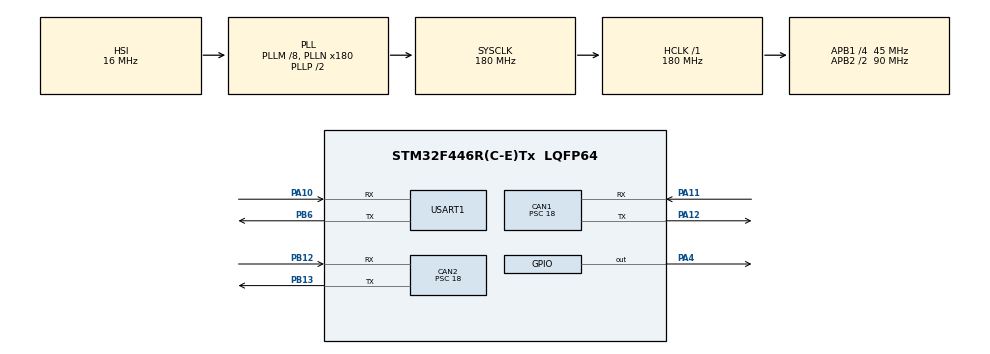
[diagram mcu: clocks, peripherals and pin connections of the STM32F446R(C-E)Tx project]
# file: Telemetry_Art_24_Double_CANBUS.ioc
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CAN1.BS1=CAN_BS1_2TQ
CAN1.BS2=CAN_BS2_2TQ
CAN1.CalculateBaudRate=500000
CAN1.CalculateTimeBit=2000
CAN1.CalculateTimeQuantum=400.0
CAN1.Prescaler=18
CAN2.BS1=CAN_BS1_2TQ
CAN2.BS2=CAN_BS2_2TQ
CAN2.CalculateBaudRate=500000
CAN2.CalculateTimeBit=2000
CAN2.CalculateTimeQuantum=400.0
CAN2.Prescaler=18
Mcu.Family=STM32F4
Mcu.Name=STM32F446R(C-E)Tx
Mcu.Package=LQFP64
NVIC.CAN1_RX0_IRQn=true\:0\:0\:false\:false\:true\:true\:true\:true
NVIC.CAN2_RX0_IRQn=true\:0\:0\:false\:false\:true\:true\:true\:true
NVIC.PriorityGroup=NVIC_PRIORITYGROUP_4
NVIC.USART1_IRQn=true\:0\:0\:false\:false\:true\:true\:true\:true
PA10.Mode=Asynchronous
PA10.Signal=USART1_RX
PA11.Mode=CAN_Activate
PA11.Signal=CAN1_RX
PA12.Mode=CAN_Activate
PA12.Signal=CAN1_TX
PA13.Mode=Serial_Wire
PA13.Signal=SYS_JTMS-SWDIO
PA14.Mode=Serial_Wire
PA14.Signal=SYS_JTCK-SWCLK
PA4.Signal=GPIO_Output
PB12.Mode=CAN_Activate
PB12.Signal=CAN2_RX
PB13.Mode=CAN_Activate
PB13.Signal=CAN2_TX
PB6.Mode=Asynchronous
PB6.Signal=USART1_TX
PC14-OSC32_IN.Mode=LSE-External-Oscillator
PC14-OSC32_IN.Signal=RCC_OSC32_IN
PC15-OSC32_OUT.Mode=LSE-External-Oscillator
PC15-OSC32_OUT.Signal=RCC_OSC32_OUT
PH0-OSC_IN.Mode=HSE-External-Oscillator
PH0-OSC_IN.Signal=RCC_OSC_IN
PH1-OSC_OUT.Mode=HSE-External-Oscillator
PH1-OSC_OUT.Signal=RCC_OSC_OUT
ProjectManager.HeapSize=0x200
ProjectManager.StackSize=0x400
ProjectManager.TargetToolchain=STM32CubeIDE
RCC.AHBFreq_Value=180000000
RCC.APB1CLKDivider=RCC_HCLK_DIV4
RCC.APB1Freq_Value=45000000
RCC.APB1TimFreq_Value=90000000
RCC.APB2CLKDivider=RCC_HCLK_DIV2
RCC.APB2Freq_Value=90000000
RCC.APB2TimFreq_Value=180000000
RCC.CortexFreq_Value=180000000
RCC.HCLKFreq_Value=180000000
RCC.HSE_VALUE=16000000
RCC.PLLM=8
RCC.PLLN=180
RCC.SYSCLKFreq_VALUE=180000000
RCC.SYSCLKSource=RCC_SYSCLKSOURCE_PLLCLK
RCC.USBFreq_Value=180000000
RCC.VCOOutputFreq_Value=360000000
USART1.VirtualMode=VM_ASYNC
board=custom

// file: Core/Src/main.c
/* USER CODE BEGIN Header */
/**
  ******************************************************************************
  * @file           : main.c
  * @brief          : Main program body
  ******************************************************************************
  * @attention
  *
  * Copyright (c) 2024 STMicroelectronics.
  * All rights reserved.
  *
  * This software is licensed under terms that can be found in the LICENSE file
  * in the root directory of this software component.
  * If no LICENSE file comes with this software, it is provided AS-IS.
  *
  ******************************************************************************
  */
/* USER CODE END Header */
#include "main.h"

/* USER CODE BEGIN Includes */
#include "string.h"
#include "stdio.h"
#include <stdlib.h>

/* USER CODE END Includes */

CAN_HandleTypeDef hcan1;
CAN_HandleTypeDef hcan2;

UART_HandleTypeDef huart1;

void SystemClock_Config(void);
static void MX_GPIO_Init(void);
static void MX_CAN1_Init(void);
static void MX_CAN2_Init(void);
static void MX_USART1_UART_Init(void);

/* USER CODE BEGIN 0 */
CAN_TxHeaderTypeDef TxHeader;
CAN_RxHeaderTypeDef RxHeader;

uint8_t TxData[8];
uint8_t RxData[8];

uint32_t TxMailbox;

#define ET_THRESHOLD 125;
#define CHASSIS_TEMP_THRESHOLD 75;
#define OP_THRESHOLD 200;

uint8_t TPS, TPS1, RPM, RPM1, MAP, MAP1, IAT, IAT1, FP, FP1, IGT, IGT1, IGT2, OP, OP1, ET, OT, Lambda, Gear, LapTime, LapTime1, FU, FU1,FrontBrakePress, FrontBrakePress1, RearBrakePress, RearBrakePress1;
int RearBrakePress2, FrontBrakePress2, TPS2, OP2, RPM2, BatV, MAP2, IAT2, FP2, Speed, LapTime2, FU2,InnerFLIR,InnerFRIR,InnerRRIR,InnerRLIR,CenterFRIR,CenterRRIR,CenterFLIR,CenterRLIR,OuterFRIR,OuterRRIR,OuterFLIR,OuterRLIR,CHASSIS_TEMP;
//char msg[] = "~,Time/1000,RPM,EngineTemp,OilTemp,OilPress/10,Batt/10,MAP/10,Fuel Press/10,Lambda/10,TPS/10,ChassisTemp,Gear,FrontBrakePress,RearBrakePress,`";

char msg[] = "~,Time/1000,RPM,OilPress/10,Batt/10,MAP/10,TPS/10,Fuel Press/10,Lambda/100,Speed,Gear,`";
char msg2[] = "$,Time/1000,EngineTemp,OilTemp,AirTemp/10,ChassisTemp,InnerFRIR,CenterFRIR,OuterFRIR,InnerFLIR,CenterFLIR,OuterFLIR,InnerRRIR,CenterRRIR,OuterRRIR,InnerRLIR,CenterRLIR,OuterRLIR,FuelUsed,#";
char text[256],text2[256];
char data[1] = "";
long previousMillis;
int interval =100;

int datacheck = 0,secondmessagesent=1;

long BitShiftCombine(uint8_t xhigh, uint8_t xlow) {
	long combined;
	combined = xhigh;
	combined = combined << 8;
	combined |= xlow;
	return combined;
}

void HAL_CAN_RxFifo0MsgPendingCallback(CAN_HandleTypeDef *hcan){
	HAL_CAN_GetRxMessage(hcan, CAN_RX_FIFO0, &RxHeader, RxData);
		if (RxHeader.StdId == 1600) {
			RPM = RxData[0];
			RPM1 = RxData[1];
			RPM2 = BitShiftCombine(RPM, RPM1);
			MAP = RxData[2];
			MAP1 = RxData[3];
			MAP2 = BitShiftCombine(MAP, MAP1);
			IAT = RxData[4];
			IAT1 = RxData[5];
			IAT2 = BitShiftCombine(IAT, IAT1);
			TPS = RxData[6];
			TPS1 = RxData[7];
			TPS2 = BitShiftCombine(TPS, TPS1);
		}
		if (RxHeader.StdId == 1601) // η τιμή π�?οέ�?χεται από το εγκέφαλο
				{
			FP = RxData[4];
			FP1 = RxData[5];
			FP2 = BitShiftCombine(FP, FP1);  //FUEL PRESS
		}
		if (RxHeader.StdId == 1602) // η τιμή π�?οέ�?χεται από το εγκέφαλο
				{
			IGT = RxData[4];
			IGT1 = RxData[5];
			IGT2 = BitShiftCombine(IGT, IGT1);  //IGNITION TIMING

		}
		if (RxHeader.StdId == 1604) // η τιμή π�?οέ�?χεται από το εγκέφαλο
				{
			OP = RxData[6];
			OP1 = RxData[7];
			OP2 = BitShiftCombine(OP, OP1);    //OIL PRESS
		}
//		if (RxHeader.StdId == 1608) // η τιμή π�?οέ�?χεται από το εγκέφαλο
//				{
//			FU = RxData[6];
//			FU1 = RxData[7];
//			FU2 = BitShiftCombine(FU, FU1);    //OIL PRESS
//		}

		if (RxHeader.StdId == 1609) // η τιμή π�?οέ�?χεται από το εγκέφαλο
				{
			BatV = RxData[5];
			OT = RxData[1] - 40; //OIL TEMP , offset 40, π�?οκ�?πτει από τον motec
			ET = RxData[0] - 40; //COOLANT TEMP

			FU = RxData[6];
			FU1 = RxData[7];
			FU2 = BitShiftCombine(FU, FU1);    //Fuel Used

		}
		if (RxHeader.StdId == 1617) // η τιμή π�?οέ�?χεται από το εγκέφαλο
				{
			Lambda = RxData[0]; // LAMBDA, measure the amount of air and fuel on the car exhaust
		}
		if (RxHeader.StdId == 1888) // το ID π�?οκ�?πτει από την πλακέτα του quick shift
				{
			 // κιβώτιο ταχυτήτων
		}
		if (RxHeader.StdId == 17) // από logger
				{
			LapTime = RxData[4];
			LapTime1 = RxData[5];
			LapTime2 = BitShiftCombine(LapTime, LapTime1);    //Lap time
		}
		if( RxHeader.StdId == 1381 ){
			Gear = RxData[0];
		}
		if(RxHeader.StdId ==1929){
			InnerFRIR = RxData[0];
			CenterFRIR = RxData[1];
			OuterFRIR = RxData[2];
		}
		if(RxHeader.StdId ==1936){
			InnerFLIR = RxData[0];
			CenterFLIR = RxData[1];
			OuterFLIR = RxData[2];
		}
		if(RxHeader.StdId ==1937){
			InnerRRIR = RxData[0];
			CenterRRIR = RxData[1];
			OuterRRIR = RxData[2];
		}
		if(RxHeader.StdId ==1938){
			InnerRLIR = RxData[0];
			CenterRLIR = RxData[1];
			OuterRLIR = RxData[2];
		}
		if (RxHeader.StdId == 1889) // η τιμή π�?οέ�?χεται από το εγκέφαλο
				{
			CHASSIS_TEMP=RxData[0];
		}
		if (RxHeader.StdId == 1874) // η τιμή π�?οέ�?χεται από το εγκέφαλο
				{
			FrontBrakePress=RxData[0];
			FrontBrakePress1=RxData[1];
			FrontBrakePress2=BitShiftCombine(FrontBrakePress, FrontBrakePress1);

			RearBrakePress=RxData[2];
			RearBrakePress1=RxData[3];
			RearBrakePress2=BitShiftCombine(RearBrakePress, RearBrakePress1);

		}

 }

/* USER CODE END 0 */

int main(void)
{

  /* MCU Configuration--------------------------------------------------------*/

  /* Reset of all peripherals, Initializes the Flash interface and the Systick. */
  HAL_Init();

  /* Configure the system clock */
  SystemClock_Config();

  /* Initialize all configured peripherals */
  MX_GPIO_Init();
  MX_CAN1_Init();
  MX_CAN2_Init();
  MX_USART1_UART_Init();
  /* USER CODE BEGIN 2 */
  HAL_UART_Receive_IT(&huart1, (uint8_t*) data, 1);

  /* USER CODE END 2 */

  /* Infinite loop */
  while (1)
  {

    /* USER CODE BEGIN 3 */
//	  if(HAL_GetTick()-previousMillis>6000){
//		  previousMillis=HAL_GetTick();
//		  sprintf(text, "$,%lu,%d,%d,%d,%d,%d,%d,%d,%d,%d,%d,%d,%d,%d,%d,%d,%d,#",HAL_GetTick(),ET, OT, IAT2, CHASSIS_TEMP, InnerFRIR, CenterFRIR, OuterFRIR, InnerFLIR, CenterFLIR, OuterFLIR, InnerRRIR, CenterRRIR, OuterRRIR, InnerRLIR, CenterRLIR, OuterRLIR);
//		  secondmessagesent=0;
//	  }
//	  else if(secondmessagesent>=10){
//		  sprintf(text, "~,%lu,%d,%d,%d,%d,%d,%d,%d,%d,%d,`", HAL_GetTick(), RPM2, OP2, BatV, MAP2, TPS2, FP2, Lambda, Speed, Gear);
//	  }
    if (ET>ET_THRESHOLD){
      sprintf(text2, "$,%lu,"\033[0;31m%d\033[0m",%d,%d,%d,%d,%d,%d,%d,%d,%d,%d,%d,%d,%d,%d,%d,%d,#",HAL_GetTick(),ET, OT, IAT2, CHASSIS_TEMP, InnerFRIR, CenterFRIR, OuterFRIR, InnerFLIR, CenterFLIR, OuterFLIR, InnerRRIR, CenterRRIR, OuterRRIR, InnerRLIR, CenterRLIR, OuterRLIR, FU2);
	    sprintf(text, "~,%lu,%d,%d,%d,%d,%d,%d,%d,%d,%d,`", HAL_GetTick(), RPM2, OP2, BatV, MAP2, TPS2, FP2, Lambda, Speed, Gear);

    }
    if (OP<OP_THRESHOLD){
	  sprintf(text2, "$,%lu,%d,%d,%d,%d,%d,%d,%d,%d,%d,%d,%d,%d,%d,%d,%d,%d,%d,#",HAL_GetTick(),ET, OT, IAT2, CHASSIS_TEMP, InnerFRIR, CenterFRIR, OuterFRIR, InnerFLIR, CenterFLIR, OuterFLIR, InnerRRIR, CenterRRIR, OuterRRIR, InnerRLIR, CenterRLIR, OuterRLIR, FU2);
	  sprintf(text, "~,%lu,%d,"\033[0;31m%d\033[0m",%d,%d,%d,%d,%d,%d,%d,`", HAL_GetTick(), RPM2, OP2, BatV, MAP2, TPS2, FP2, Lambda, Speed, Gear);

    }

  if (CHASSIS_TEMP>CHASSIS_TEMP_THRESHOLD) {
    sprintf(text2, "$,%lu,%d,%d,%d,"\033[0;31m%d\033[0m",%d,%d,%d,%d,%d,%d,%d,%d,%d,%d,%d,%d,%d,#",HAL_GetTick(),ET, OT, IAT2, CHASSIS_TEMP, InnerFRIR, CenterFRIR, OuterFRIR, InnerFLIR, CenterFLIR, OuterFLIR, InnerRRIR, CenterRRIR, OuterRRIR, InnerRLIR, CenterRLIR, OuterRLIR, FU2);
	  sprintf(text, "~,%lu,%d,%d,%d,%d,%d,%d,%d,%d,%d,`", HAL_GetTick(), RPM2, OP2, BatV, MAP2, TPS2, FP2, Lambda, Speed, Gear);

  }
  if (ET<=ET_THRESHOLD &&  OP>=OP_THRESHOLD && CHASSIS_TEMP<=CHASSIS_TEMP_THRESHOLD)
  {

    sprintf(text2, "$,%lu,%d,%d,%d,%d,%d,%d,%d,%d,%d,%d,%d,%d,%d,%d,%d,%d,%d,#",HAL_GetTick(),ET, OT, IAT2, CHASSIS_TEMP, InnerFRIR, CenterFRIR, OuterFRIR, InnerFLIR, CenterFLIR, OuterFLIR, InnerRRIR, CenterRRIR, OuterRRIR, InnerRLIR, CenterRLIR, OuterRLIR, FU2);
	  sprintf(text, "~,%lu,%d,%d,%d,%d,%d,%d,%d,%d,%d,`", HAL_GetTick(), RPM2, OP2, BatV, MAP2, TPS2, FP2, Lambda, Speed, Gear);

  }

//	  sprintf(text, "~,%lu,%d,%d,%d,%d,%d,%d,%d,%d,%d,%d,%d,%d,%d,`", HAL_GetTick(), RPM2, ET, OT, OP2, BatV, MAP2, FP2, Lambda,TPS2,CHASSIS_TEMP,Gear,FrontBrakePress2,RearBrakePress2);

//	  sprintf(text, "~,%lu,%d,%d,%d,%d,%d,%d,%d,%d,%d,%d,%d,%d,`", HAL_GetTick(), RPM2, ET, OT, OP2, BatV, MAP2, FP2, Lambda,TPS2,CHASSIS_TEMP,Gear);
//	  sprintf(text, "~,%lu,%d,%d,%d,%d,%d,%d,%d,%d,%d,`", HAL_GetTick(), RPM2, OP2, BatV, MAP2, TPS2, FP2, Lambda, Speed, Gear);
//	  RPM2=1000;
//	  ET=rand()%100;
//	  OT=rand()%100;
//	  OP2=rand()%600;
//	  BatV=rand()%15;
//	  MAP2=rand()%100;
//	  FP2=rand()%450;
//	  Lambda=rand()%250;
//	  InnerFRIR=rand()%100;

	  if (datacheck){
  		  HAL_GPIO_TogglePin(GPIOA, GPIO_PIN_4);
	  	  HAL_Delay(100);
	  }
  }
  /* USER CODE END 3 */
}

void SystemClock_Config(void)
{
  RCC_OscInitTypeDef RCC_OscInitStruct = {0};
  RCC_ClkInitTypeDef RCC_ClkInitStruct = {0};

  /** Configure the main internal regulator output voltage
  */
  __HAL_RCC_PWR_CLK_ENABLE();
  __HAL_PWR_VOLTAGESCALING_CONFIG(PWR_REGULATOR_VOLTAGE_SCALE1);

  /** Initializes the RCC Oscillators according to the specified parameters
  * in the RCC_OscInitTypeDef structure.
  */
  RCC_OscInitStruct.OscillatorType = RCC_OSCILLATORTYPE_HSI;
  RCC_OscInitStruct.HSIState = RCC_HSI_ON;
  RCC_OscInitStruct.HSICalibrationValue = RCC_HSICALIBRATION_DEFAULT;
  RCC_OscInitStruct.PLL.PLLState = RCC_PLL_ON;
  RCC_OscInitStruct.PLL.PLLSource = RCC_PLLSOURCE_HSI;
  RCC_OscInitStruct.PLL.PLLM = 8;
  RCC_OscInitStruct.PLL.PLLN = 180;
  RCC_OscInitStruct.PLL.PLLP = RCC_PLLP_DIV2;
  RCC_OscInitStruct.PLL.PLLQ = 2;
  RCC_OscInitStruct.PLL.PLLR = 2;
  if (HAL_RCC_OscConfig(&RCC_OscInitStruct) != HAL_OK)
  {
    Error_Handler();
  }

  /** Activate the Over-Drive mode
  */
  if (HAL_PWREx_EnableOverDrive() != HAL_OK)
  {
    Error_Handler();
  }

  /** Initializes the CPU, AHB and APB buses clocks
  */
  RCC_ClkInitStruct.ClockType = RCC_CLOCKTYPE_HCLK|RCC_CLOCKTYPE_SYSCLK
                              |RCC_CLOCKTYPE_PCLK1|RCC_CLOCKTYPE_PCLK2;
  RCC_ClkInitStruct.SYSCLKSource = RCC_SYSCLKSOURCE_PLLCLK;
  RCC_ClkInitStruct.AHBCLKDivider = RCC_SYSCLK_DIV1;
  RCC_ClkInitStruct.APB1CLKDivider = RCC_HCLK_DIV4;
  RCC_ClkInitStruct.APB2CLKDivider = RCC_HCLK_DIV2;

  if (HAL_RCC_ClockConfig(&RCC_ClkInitStruct, FLASH_LATENCY_5) != HAL_OK)
  {
    Error_Handler();
  }
}

static void MX_CAN1_Init(void)
{

  /* USER CODE BEGIN CAN1_Init 0 */
  CAN_FilterTypeDef  sFilterConfig;

  /* USER CODE END CAN1_Init 0 */

  hcan1.Instance = CAN1;
  hcan1.Init.Prescaler = 18;
  hcan1.Init.Mode = CAN_MODE_NORMAL;
  hcan1.Init.SyncJumpWidth = CAN_SJW_1TQ;
  hcan1.Init.TimeSeg1 = CAN_BS1_2TQ;
  hcan1.Init.TimeSeg2 = CAN_BS2_2TQ;
  hcan1.Init.TimeTriggeredMode = DISABLE;
  hcan1.Init.AutoBusOff = DISABLE;
  hcan1.Init.AutoWakeUp = DISABLE;
  hcan1.Init.AutoRetransmission = DISABLE;
  hcan1.Init.ReceiveFifoLocked = DISABLE;
  hcan1.Init.TransmitFifoPriority = DISABLE;
  if (HAL_CAN_Init(&hcan1) != HAL_OK)
  {
    Error_Handler();
  }
  /* USER CODE BEGIN CAN1_Init 2 */
  sFilterConfig.FilterBank = 0;
  sFilterConfig.FilterMode = CAN_FILTERMODE_IDMASK;
  sFilterConfig.FilterScale = CAN_FILTERSCALE_32BIT;
  sFilterConfig.FilterIdHigh = 0x0000;
  sFilterConfig.FilterIdLow = 0x0000;
  sFilterConfig.FilterMaskIdHigh = 0x0000;
  sFilterConfig.FilterMaskIdLow = 0x0000;
  sFilterConfig.FilterFIFOAssignment = CAN_RX_FIFO0;
  sFilterConfig.FilterActivation = ENABLE;
  sFilterConfig.SlaveStartFilterBank = 14;

  if (HAL_CAN_ConfigFilter(&hcan1, &sFilterConfig) != HAL_OK)
  {
    /* Filter configuration Error */
    Error_Handler();
  }

  HAL_CAN_Start(&hcan1);

  /*##-4- Activate CAN RX notification #######################################*/
  if (HAL_CAN_ActivateNotification(&hcan1, CAN_IT_RX_FIFO0_MSG_PENDING) != HAL_OK)
  {
    /* Notification Error */
    Error_Handler();
  }

  /* USER CODE END CAN1_Init 2 */

}

static void MX_CAN2_Init(void)
{

  /* USER CODE BEGIN CAN2_Init 0 */
  CAN_FilterTypeDef  sFilterConfig;

  /* USER CODE END CAN2_Init 0 */

  hcan2.Instance = CAN2;
  hcan2.Init.Prescaler = 18;
  hcan2.Init.Mode = CAN_MODE_NORMAL;
  hcan2.Init.SyncJumpWidth = CAN_SJW_1TQ;
  hcan2.Init.TimeSeg1 = CAN_BS1_2TQ;
  hcan2.Init.TimeSeg2 = CAN_BS2_2TQ;
  hcan2.Init.TimeTriggeredMode = DISABLE;
  hcan2.Init.AutoBusOff = DISABLE;
  hcan2.Init.AutoWakeUp = DISABLE;
  hcan2.Init.AutoRetransmission = DISABLE;
  hcan2.Init.ReceiveFifoLocked = DISABLE;
  hcan2.Init.TransmitFifoPriority = DISABLE;
  if (HAL_CAN_Init(&hcan2) != HAL_OK)
  {
    Error_Handler();
  }
  /* USER CODE BEGIN CAN2_Init 2 */
  sFilterConfig.FilterBank = 14;
  sFilterConfig.FilterMode = CAN_FILTERMODE_IDMASK;
  sFilterConfig.FilterScale = CAN_FILTERSCALE_32BIT;
  sFilterConfig.FilterIdHigh = 0x0000;
  sFilterConfig.FilterIdLow = 0x0000;
  sFilterConfig.FilterMaskIdHigh = 0x0000;
  sFilterConfig.FilterMaskIdLow = 0x0000;
  sFilterConfig.FilterFIFOAssignment = CAN_RX_FIFO0;
  sFilterConfig.FilterActivation = ENABLE;
  sFilterConfig.SlaveStartFilterBank = 14;

  if (HAL_CAN_ConfigFilter(&hcan2, &sFilterConfig) != HAL_OK)
  {
    /* Filter configuration Error */
    Error_Handler();
  }

  HAL_CAN_Start(&hcan2);

  /*##-4- Activate CAN RX notification #######################################*/
  if (HAL_CAN_ActivateNotification(&hcan2, CAN_IT_RX_FIFO0_MSG_PENDING) != HAL_OK)
  {
    /* Notification Error */
    Error_Handler();
  }
  /* USER CODE END CAN2_Init 2 */

}

static void MX_USART1_UART_Init(void)
{

  huart1.Instance = USART1;
  huart1.Init.BaudRate = 115200;
  huart1.Init.WordLength = UART_WORDLENGTH_8B;
  huart1.Init.StopBits = UART_STOPBITS_1;
  huart1.Init.Parity = UART_PARITY_NONE;
  huart1.Init.Mode = UART_MODE_TX_RX;
  huart1.Init.HwFlowCtl = UART_HWCONTROL_NONE;
  huart1.Init.OverSampling = UART_OVERSAMPLING_16;
  if (HAL_UART_Init(&huart1) != HAL_OK)
  {
    Error_Handler();
  }

}

static void MX_GPIO_Init(void)
{
  GPIO_InitTypeDef GPIO_InitStruct = {0};

  /* GPIO Ports Clock Enable */
  __HAL_RCC_GPIOC_CLK_ENABLE();
  __HAL_RCC_GPIOH_CLK_ENABLE();
  __HAL_RCC_GPIOA_CLK_ENABLE();
  __HAL_RCC_GPIOB_CLK_ENABLE();

  /*Configure GPIO pin Output Level */
  HAL_GPIO_WritePin(GPIOA, GPIO_PIN_4, GPIO_PIN_RESET);

  /*Configure GPIO pin : PA4 */
  GPIO_InitStruct.Pin = GPIO_PIN_4;
  GPIO_InitStruct.Mode = GPIO_MODE_OUTPUT_PP;
  GPIO_InitStruct.Pull = GPIO_NOPULL;
  GPIO_InitStruct.Speed = GPIO_SPEED_FREQ_LOW;
  HAL_GPIO_Init(GPIOA, &GPIO_InitStruct);

}

/* USER CODE BEGIN 4 */
void HAL_UART_RxCpltCallback(UART_HandleTypeDef *huart) {
	if (data[0] == 'l') {
		HAL_UART_Transmit_IT(huart, (uint8_t*) msg, strlen(msg));
		//HAL_UART_Transmit_IT(huart, (uint8_t*) msg, sizeof(msg));
	}
	if (data[0] == 'k') {
		HAL_UART_Transmit_IT(huart, (uint8_t*) text, strlen(text));
		//HAL_UART_Transmit_IT(huart, (uint8_t*) bufferTX, sizeof(bufferTX));
	}
	if (data[0] == 'm') {
		HAL_UART_Transmit_IT(huart, (uint8_t*) msg2, strlen(msg2));
		//HAL_UART_Transmit_IT(huart, (uint8_t*) bufferTX, sizeof(bufferTX));
	}
	if (data[0] == 'n') {
			HAL_UART_Transmit_IT(huart, (uint8_t*) text2, strlen(text2));
	}
	HAL_UART_Receive_IT(huart, (uint8_t*) data, 1);
}

/* USER CODE END 4 */

void Error_Handler(void)
{
  __disable_irq();
  while (1)
  {
  }
}
